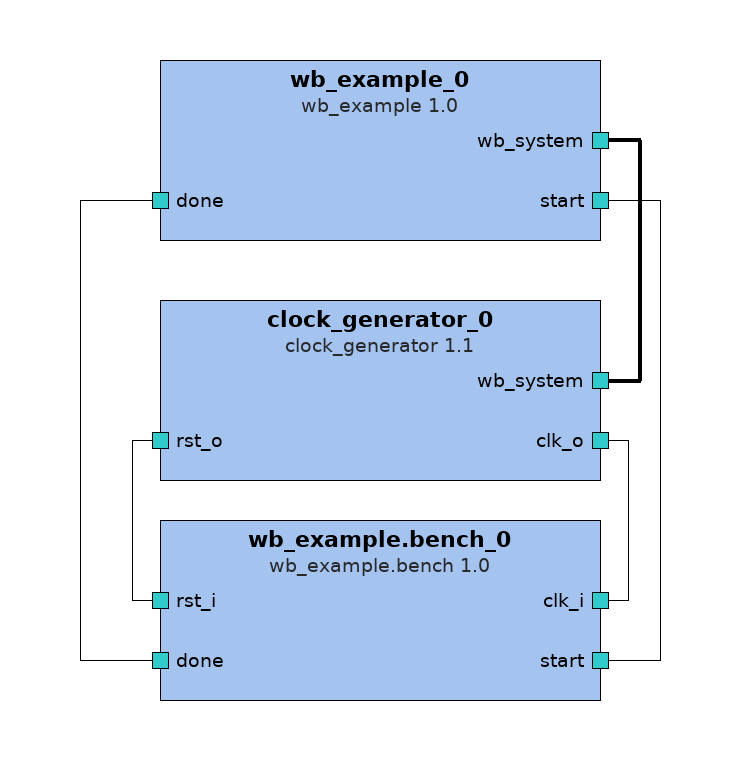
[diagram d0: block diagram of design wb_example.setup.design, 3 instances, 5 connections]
<?xml version="1.0" encoding="UTF-8"?>
<ipxact:design xmlns:xsi="http://www.w3.org/2001/XMLSchema-instance" xmlns:ipxact="http://www.accellera.org/XMLSchema/IPXACT/1685-2014" xmlns:kactus2="http://kactus2.cs.tut.fi" xsi:schemaLocation="http://www.accellera.org/XMLSchema/IPXACT/1685-2014/ http://www.accellera.org/XMLSchema/IPXACT/1685-2014/index.xsd"><ipxact:vendor>tut.fi</ipxact:vendor><ipxact:library>other.subsystem.test</ipxact:library>
 <ipxact:name>wb_example.setup.design</ipxact:name><ipxact:version>1.0</ipxact:version><ipxact:componentInstances>
 <ipxact:componentInstance><ipxact:instanceName>clock_generator_0</ipxact:instanceName><ipxact:componentRef vendor="tut.fi" library="other.test" name="clock_generator" version="1.1"/></ipxact:componentInstance>
 <ipxact:componentInstance><ipxact:instanceName>wb_example_0</ipxact:instanceName><ipxact:componentRef vendor="tut.fi" library="other.subsystem" name="wb_example" version="1.0"/></ipxact:componentInstance>
 <ipxact:componentInstance><ipxact:instanceName>wb_example.bench_0</ipxact:instanceName><ipxact:componentRef vendor="tut.fi" library="other.subsystem.test" name="wb_example.bench" version="1.0"><ipxact:configurableElementValues><ipxact:configurableElementValue referenceId="uuid_d3a6969c_8076_4ad3_9b17_763b80d83ec8">1200</ipxact:configurableElementValue></ipxact:configurableElementValues></ipxact:componentRef></ipxact:componentInstance>
</ipxact:componentInstances>
 <ipxact:interconnections><ipxact:interconnection><ipxact:name>clock_generator_0_wb_system_to_wb_example_0_wb_system</ipxact:name><ipxact:activeInterface componentRef="clock_generator_0" busRef="wb_system"/><ipxact:activeInterface componentRef="wb_example_0" busRef="wb_system"/></ipxact:interconnection></ipxact:interconnections>
 <ipxact:adHocConnections>
  <ipxact:adHocConnection><ipxact:name>wb_example_0_start_to_wb_example.bench_0_start</ipxact:name><ipxact:portReferences><ipxact:internalPortReference componentRef="wb_example_0" portRef="start"/><ipxact:internalPortReference componentRef="wb_example.bench_0" portRef="start"/></ipxact:portReferences></ipxact:adHocConnection>
  <ipxact:adHocConnection><ipxact:name>wb_example_0_done_to_wb_example.bench_0_done</ipxact:name><ipxact:portReferences><ipxact:internalPortReference componentRef="wb_example_0" portRef="done"/><ipxact:internalPortReference componentRef="wb_example.bench_0" portRef="done"/></ipxact:portReferences></ipxact:adHocConnection>
  <ipxact:adHocConnection><ipxact:name>wb_example.bench_0_clk_i_to_clock_generator_0_clk_o</ipxact:name><ipxact:portReferences><ipxact:internalPortReference componentRef="wb_example.bench_0" portRef="clk_i"/><ipxact:internalPortReference componentRef="clock_generator_0" portRef="clk_o"/></ipxact:portReferences></ipxact:adHocConnection>
  <ipxact:adHocConnection><ipxact:name>wb_example.bench_0_rst_i_to_clock_generator_0_rst_o</ipxact:name><ipxact:portReferences><ipxact:internalPortReference componentRef="wb_example.bench_0" portRef="rst_i"/><ipxact:internalPortReference componentRef="clock_generator_0" portRef="rst_o"/></ipxact:portReferences></ipxact:adHocConnection>
 </ipxact:adHocConnections>
</ipxact:design>

